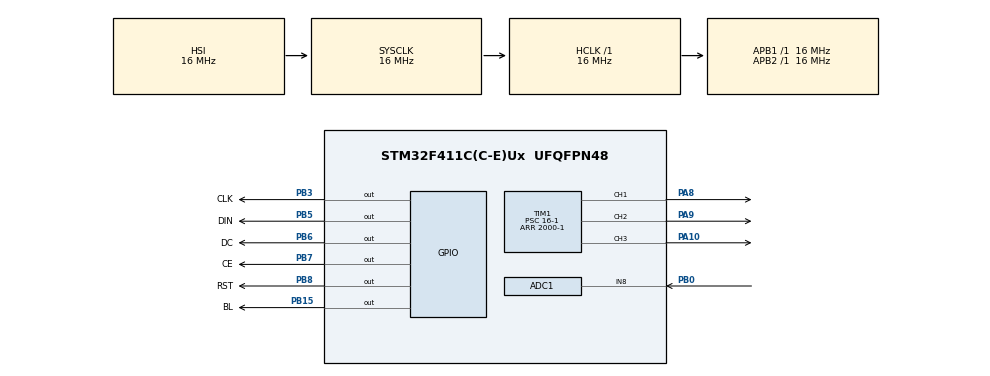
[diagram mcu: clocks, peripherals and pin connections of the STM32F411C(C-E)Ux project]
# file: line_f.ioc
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ADC1.Channel-0\#ChannelRegularConversion=ADC_CHANNEL_8
ADC1.ContinuousConvMode=ENABLE
ADC1.NbrOfConversionFlag=1
ADC1.Rank-0\#ChannelRegularConversion=1
ADC1.SamplingTime-0\#ChannelRegularConversion=ADC_SAMPLETIME_3CYCLES
ADC1.master=1
Mcu.Family=STM32F4
Mcu.Name=STM32F411C(C-E)Ux
Mcu.Package=UFQFPN48
<<<<<<< HEAD
=======
>>>>>>> aa09c4e4f2138aec697b290cce4da5d86891dfe0
NVIC.PriorityGroup=NVIC_PRIORITYGROUP_4
PA10.Signal=S_TIM1_CH3
PA8.Signal=S_TIM1_CH1
PA9.Signal=S_TIM1_CH2
PB0.Signal=ADCx_IN8
PB15.GPIO_Label=BL
PB15.Signal=GPIO_Output
PB3.GPIO_Label=CLK
PB3.Signal=GPIO_Output
PB5.GPIO_Label=DIN
PB5.Signal=GPIO_Output
PB6.GPIO_Label=DC
PB6.Signal=GPIO_Output
PB7.GPIO_Label=CE
PB7.Signal=GPIO_Output
PB8.GPIO_Label=RST
PB8.Signal=GPIO_Output
ProjectManager.HeapSize=0x200
ProjectManager.StackSize=0x400
ProjectManager.TargetToolchain=STM32CubeIDE
RCC.AHBFreq_Value=16000000
RCC.APB1Freq_Value=16000000
RCC.APB2Freq_Value=16000000
RCC.CortexFreq_Value=16000000
RCC.HSE_VALUE=25000000
RCC.HSI_VALUE=16000000
RCC.LSE_VALUE=32768
RCC.SYSCLKFreq_VALUE=16000000
RCC.VCOOutputFreq_Value=192000000
SH.ADCx_IN8.0=ADC1_IN8,IN8
SH.S_TIM1_CH1.0=TIM1_CH1,PWM Generation1 CH1
<<<<<<< HEAD
SH.S_TIM1_CH2.0=TIM1_CH2,PWM Generation2 CH2
SH.S_TIM1_CH3.0=TIM1_CH3,PWM Generation3 CH3
TIM1.Channel-PWM\ Generation1\ CH1=TIM_CHANNEL_1
TIM1.Channel-PWM\ Generation2\ CH2=TIM_CHANNEL_2
TIM1.Channel-PWM\ Generation3\ CH3=TIM_CHANNEL_3
=======
SH.S_TIM1_CH3.0=TIM1_CH3,PWM Generation3 CH3
TIM1.Channel-PWM\ Generation1\ CH1=TIM_CHANNEL_1
TIM1.Channel-PWM\ Generation3\ CH3=TIM_CHANNEL_3
>>>>>>> aa09c4e4f2138aec697b290cce4da5d86891dfe0
TIM1.Period=2000-1
TIM1.Prescaler=16-1
VP_TIM1_VS_ClockSourceINT.Mode=Internal
board=custom

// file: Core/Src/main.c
/* USER CODE BEGIN Header */
/**
  ******************************************************************************
  * @file           : main.c
  * @brief          : Main program body
  ******************************************************************************
  * @attention
  *
  * Copyright (c) 2023 STMicroelectronics.
  * All rights reserved.
  *
  * This software is licensed under terms that can be found in the LICENSE file
  * in the root directory of this software component.
  * If no LICENSE file comes with this software, it is provided AS-IS.
  *
  ******************************************************************************
  */
/* USER CODE END Header */
#include "main.h"

/* USER CODE BEGIN Includes */
#include <nokia5110_LCD.h>
#include <stdio.h>
/* USER CODE END Includes */

ADC_HandleTypeDef hadc1;

TIM_HandleTypeDef htim1;

void SystemClock_Config(void);
static void MX_GPIO_Init(void);
static void MX_ADC1_Init(void);
static void MX_TIM1_Init(void);

int main(void)
{

  /* MCU Configuration--------------------------------------------------------*/

  /* Reset of all peripherals, Initializes the Flash interface and the Systick. */
  HAL_Init();

  /* USER CODE BEGIN Init */

  /* Configure the system clock */
  SystemClock_Config();

  /* USER CODE BEGIN SysInit */

  /* USER CODE END SysInit */

  /* Initialize all configured peripherals */
  MX_GPIO_Init();
  /* USER CODE BEGIN 2 */

  /* USER CODE END 2 */

  /* Infinite loop */
  /* USER CODE BEGIN WHILE */
  /* USER CODE BEGIN Init */
  LCD_setRST(RST_GPIO_Port, RST_Pin);
  LCD_setCE(CE_GPIO_Port, CE_Pin);
  LCD_setDC(DC_GPIO_Port, DC_Pin);
  LCD_setDIN(DIN_GPIO_Port, DIN_Pin);
  LCD_setCLK(CLK_GPIO_Port, CLK_Pin);

  LCD_init();
  LCD_print("Hello World", 0, 0);

  /* USER CODE END Init */

  /* Configure the system clock */
  SystemClock_Config();

  /* Initialize all configured peripherals */
  MX_GPIO_Init();
  MX_ADC1_Init();
  MX_TIM1_Init();

  /* Infinite loop */
  /* USER CODE BEGIN WHILE */
  /* USER CODE BEGIN Init */
  LCD_setRST(RST_GPIO_Port, RST_Pin);
  LCD_setCE(CE_GPIO_Port, CE_Pin);
  LCD_setDC(DC_GPIO_Port, DC_Pin);
  LCD_setDIN(DIN_GPIO_Port, DIN_Pin);
  LCD_setCLK(CLK_GPIO_Port, CLK_Pin);

  LCD_init();
  LCD_print("Hello World", 0, 0);

  /* USER CODE END Init */

  /* Configure the system clock */
  SystemClock_Config();

  /* USER CODE BEGIN SysInit */

  /* USER CODE END SysInit */

  /* Initialize all configured peripherals */
  MX_GPIO_Init();
  MX_ADC1_Init();
  MX_TIM1_Init();
  /* USER CODE BEGIN 2 */

  /* USER CODE END 2 */

  /* Infinite loop */
  /* USER CODE BEGIN WHILE */
  /* USER CODE BEGIN Init */
  LCD_setRST(RST_GPIO_Port, RST_Pin);
  LCD_setCE(CE_GPIO_Port, CE_Pin);
  LCD_setDC(DC_GPIO_Port, DC_Pin);
  LCD_setDIN(DIN_GPIO_Port, DIN_Pin);
  LCD_setCLK(CLK_GPIO_Port, CLK_Pin);

  LCD_init();
  LCD_print("Hello World", 0, 0);

  /* USER CODE END Init */

  /* Configure the system clock */
  SystemClock_Config();

  /* USER CODE BEGIN SysInit */

  /* USER CODE END SysInit */

  /* Initialize all configured peripherals */
  MX_GPIO_Init();
  MX_ADC1_Init();
  MX_TIM1_Init();
  /* USER CODE BEGIN 2 */

  /* USER CODE END 2 */

  /* Infinite loop */
  /* USER CODE BEGIN WHILE */
  /* USER CODE BEGIN Init */
  LCD_setRST(RST_GPIO_Port, RST_Pin);
  LCD_setCE(CE_GPIO_Port, CE_Pin);
  LCD_setDC(DC_GPIO_Port, DC_Pin);
  LCD_setDIN(DIN_GPIO_Port, DIN_Pin);
  LCD_setCLK(CLK_GPIO_Port, CLK_Pin);

  LCD_init();
  LCD_print("Hello World", 0, 0);

  /* USER CODE END Init */

  /* Configure the system clock */
  SystemClock_Config();

  /* USER CODE BEGIN SysInit */

  /* USER CODE END SysInit */

  /* Initialize all configured peripherals */
  MX_GPIO_Init();
  MX_ADC1_Init();
  MX_TIM1_Init();
  /* USER CODE BEGIN 2 */

<<<<<<< HEAD
=======

>>>>>>> aa09c4e4f2138aec697b290cce4da5d86891dfe0
  /* USER CODE END 2 */

  /* Infinite loop */
  /* USER CODE BEGIN WHILE */
  /* USER CODE BEGIN Init */

  HAL_TIM_PWM_Start(&htim1, TIM_CHANNEL_1);
<<<<<<< HEAD
  HAL_TIM_PWM_Start(&htim1, TIM_CHANNEL_2);
=======
  HAL_TIM_PWM_Start(&htim1, TIM_CHANNEL_3);
>>>>>>> aa09c4e4f2138aec697b290cce4da5d86891dfe0
  LCD_setRST(RST_GPIO_Port, RST_Pin);
  LCD_setCE(CE_GPIO_Port, CE_Pin);
  LCD_setDC(DC_GPIO_Port, DC_Pin);
  LCD_setDIN(DIN_GPIO_Port, DIN_Pin);
  LCD_setCLK(CLK_GPIO_Port, CLK_Pin);

  LCD_init();
  LCD_print("Hello World", 0, 0);
  uint16_t dc;
<<<<<<< HEAD
  uint16_t dc_2;
=======
  uint16_t dc_0;
  uint16_t readValue;
>>>>>>> aa09c4e4f2138aec697b290cce4da5d86891dfe0
  char adc_str[10];

  HAL_ADC_Start(&hadc1);

  /* USER CODE END Init */

  while (1)
  {
    /* USER CODE END WHILE */

    /* USER CODE BEGIN 3 */
<<<<<<< HEAD
	  dc = 1225;
	 // TIM1->CCR1 = dc;
	  dc_2 = 0;
	/*  TIM1->CCR3 = dc_2;*/
	  __HAL_TIM_SET_COMPARE(&htim1, TIM_CHANNEL_1, dc); // Update duty cycle for PA8
	  __HAL_TIM_SET_COMPARE(&htim1, TIM_CHANNEL_2, dc_2); // Update duty cycle for PA10
=======
	  dc = 35000;
	  dc_0 = 0;
	  TIM1->CCR1 = dc;
	  TIM1->CCR3 = dc_0;
>>>>>>> aa09c4e4f2138aec697b290cce4da5d86891dfe0
	  sprintf(adc_str, "%d", dc);
	  LCD_print(adc_str,0, 1);
	  HAL_ADC_PollForConversion(&hadc1,1000);
	  readValue = HAL_ADC_GetValue(&hadc1);
	  HAL_Delay(500);
  }
  /* USER CODE END 3 */
}

void SystemClock_Config(void)
{
  RCC_OscInitTypeDef RCC_OscInitStruct = {0};
  RCC_ClkInitTypeDef RCC_ClkInitStruct = {0};

  /** Configure the main internal regulator output voltage
  */
  __HAL_RCC_PWR_CLK_ENABLE();
  __HAL_PWR_VOLTAGESCALING_CONFIG(PWR_REGULATOR_VOLTAGE_SCALE1);

  /** Initializes the RCC Oscillators according to the specified parameters
  * in the RCC_OscInitTypeDef structure.
  */
  RCC_OscInitStruct.OscillatorType = RCC_OSCILLATORTYPE_HSI;
  RCC_OscInitStruct.HSIState = RCC_HSI_ON;
  RCC_OscInitStruct.HSICalibrationValue = RCC_HSICALIBRATION_DEFAULT;
  RCC_OscInitStruct.PLL.PLLState = RCC_PLL_NONE;
  if (HAL_RCC_OscConfig(&RCC_OscInitStruct) != HAL_OK)
  {
    Error_Handler();
  }

  /** Initializes the CPU, AHB and APB buses clocks
  */
  RCC_ClkInitStruct.ClockType = RCC_CLOCKTYPE_HCLK|RCC_CLOCKTYPE_SYSCLK
                              |RCC_CLOCKTYPE_PCLK1|RCC_CLOCKTYPE_PCLK2;
  RCC_ClkInitStruct.SYSCLKSource = RCC_SYSCLKSOURCE_HSI;
  RCC_ClkInitStruct.AHBCLKDivider = RCC_SYSCLK_DIV1;
  RCC_ClkInitStruct.APB1CLKDivider = RCC_HCLK_DIV1;
  RCC_ClkInitStruct.APB2CLKDivider = RCC_HCLK_DIV1;

  if (HAL_RCC_ClockConfig(&RCC_ClkInitStruct, FLASH_LATENCY_0) != HAL_OK)
  {
    Error_Handler();
  }
}

static void MX_ADC1_Init(void)
{

  ADC_ChannelConfTypeDef sConfig = {0};

  /** Configure the global features of the ADC (Clock, Resolution, Data Alignment and number of conversion)
  */
  hadc1.Instance = ADC1;
  hadc1.Init.ClockPrescaler = ADC_CLOCK_SYNC_PCLK_DIV2;
  hadc1.Init.Resolution = ADC_RESOLUTION_12B;
  hadc1.Init.ScanConvMode = DISABLE;
  hadc1.Init.ContinuousConvMode = ENABLE;
  hadc1.Init.DiscontinuousConvMode = DISABLE;
  hadc1.Init.ExternalTrigConvEdge = ADC_EXTERNALTRIGCONVEDGE_NONE;
  hadc1.Init.ExternalTrigConv = ADC_SOFTWARE_START;
  hadc1.Init.DataAlign = ADC_DATAALIGN_RIGHT;
  hadc1.Init.NbrOfConversion = 1;
  hadc1.Init.DMAContinuousRequests = DISABLE;
  hadc1.Init.EOCSelection = ADC_EOC_SINGLE_CONV;
  if (HAL_ADC_Init(&hadc1) != HAL_OK)
  {
    Error_Handler();
  }

  /** Configure for the selected ADC regular channel its corresponding rank in the sequencer and its sample time.
  */
  sConfig.Channel = ADC_CHANNEL_8;
  sConfig.Rank = 1;
  sConfig.SamplingTime = ADC_SAMPLETIME_3CYCLES;
  if (HAL_ADC_ConfigChannel(&hadc1, &sConfig) != HAL_OK)
  {
    Error_Handler();
  }

}

static void MX_TIM1_Init(void)
{

  TIM_ClockConfigTypeDef sClockSourceConfig = {0};
  TIM_MasterConfigTypeDef sMasterConfig = {0};
  TIM_OC_InitTypeDef sConfigOC = {0};
  TIM_BreakDeadTimeConfigTypeDef sBreakDeadTimeConfig = {0};

  htim1.Instance = TIM1;
  htim1.Init.Prescaler = 16-1;
  htim1.Init.CounterMode = TIM_COUNTERMODE_UP;
  htim1.Init.Period = 2000-1;
  htim1.Init.ClockDivision = TIM_CLOCKDIVISION_DIV1;
  htim1.Init.RepetitionCounter = 0;
  htim1.Init.AutoReloadPreload = TIM_AUTORELOAD_PRELOAD_DISABLE;
  if (HAL_TIM_Base_Init(&htim1) != HAL_OK)
  {
    Error_Handler();
  }
  sClockSourceConfig.ClockSource = TIM_CLOCKSOURCE_INTERNAL;
  if (HAL_TIM_ConfigClockSource(&htim1, &sClockSourceConfig) != HAL_OK)
  {
    Error_Handler();
  }
  if (HAL_TIM_PWM_Init(&htim1) != HAL_OK)
  {
    Error_Handler();
  }
  sMasterConfig.MasterOutputTrigger = TIM_TRGO_RESET;
  sMasterConfig.MasterSlaveMode = TIM_MASTERSLAVEMODE_DISABLE;
  if (HAL_TIMEx_MasterConfigSynchronization(&htim1, &sMasterConfig) != HAL_OK)
  {
    Error_Handler();
  }
  sConfigOC.OCMode = TIM_OCMODE_PWM1;
  sConfigOC.Pulse = 0;
  sConfigOC.OCPolarity = TIM_OCPOLARITY_HIGH;
  sConfigOC.OCNPolarity = TIM_OCNPOLARITY_HIGH;
  sConfigOC.OCFastMode = TIM_OCFAST_DISABLE;
  sConfigOC.OCIdleState = TIM_OCIDLESTATE_RESET;
  sConfigOC.OCNIdleState = TIM_OCNIDLESTATE_RESET;
  if (HAL_TIM_PWM_ConfigChannel(&htim1, &sConfigOC, TIM_CHANNEL_1) != HAL_OK)
  {
    Error_Handler();
  }
<<<<<<< HEAD
  if (HAL_TIM_PWM_ConfigChannel(&htim1, &sConfigOC, TIM_CHANNEL_2) != HAL_OK)
  {
    Error_Handler();
  }
=======
>>>>>>> aa09c4e4f2138aec697b290cce4da5d86891dfe0
  if (HAL_TIM_PWM_ConfigChannel(&htim1, &sConfigOC, TIM_CHANNEL_3) != HAL_OK)
  {
    Error_Handler();
  }
  sBreakDeadTimeConfig.OffStateRunMode = TIM_OSSR_DISABLE;
  sBreakDeadTimeConfig.OffStateIDLEMode = TIM_OSSI_DISABLE;
  sBreakDeadTimeConfig.LockLevel = TIM_LOCKLEVEL_OFF;
  sBreakDeadTimeConfig.DeadTime = 0;
  sBreakDeadTimeConfig.BreakState = TIM_BREAK_DISABLE;
  sBreakDeadTimeConfig.BreakPolarity = TIM_BREAKPOLARITY_HIGH;
  sBreakDeadTimeConfig.AutomaticOutput = TIM_AUTOMATICOUTPUT_DISABLE;
  if (HAL_TIMEx_ConfigBreakDeadTime(&htim1, &sBreakDeadTimeConfig) != HAL_OK)
  {
    Error_Handler();
  }
  HAL_TIM_MspPostInit(&htim1);

}

static void MX_GPIO_Init(void)
{
  GPIO_InitTypeDef GPIO_InitStruct = {0};

  /* GPIO Ports Clock Enable */
  __HAL_RCC_GPIOB_CLK_ENABLE();
  __HAL_RCC_GPIOA_CLK_ENABLE();

  /*Configure GPIO pin Output Level */
  HAL_GPIO_WritePin(GPIOB, BL_Pin|CLK_Pin|DIN_Pin|DC_Pin
                          |CE_Pin|RST_Pin, GPIO_PIN_RESET);

  /*Configure GPIO pins : BL_Pin CLK_Pin DIN_Pin DC_Pin
                           CE_Pin RST_Pin */
  GPIO_InitStruct.Pin = BL_Pin|CLK_Pin|DIN_Pin|DC_Pin
                          |CE_Pin|RST_Pin;
  GPIO_InitStruct.Mode = GPIO_MODE_OUTPUT_PP;
  GPIO_InitStruct.Pull = GPIO_NOPULL;
  GPIO_InitStruct.Speed = GPIO_SPEED_FREQ_LOW;
  HAL_GPIO_Init(GPIOB, &GPIO_InitStruct);

}

void Error_Handler(void)
{
  __disable_irq();
  while (1)
  {
  }
}
